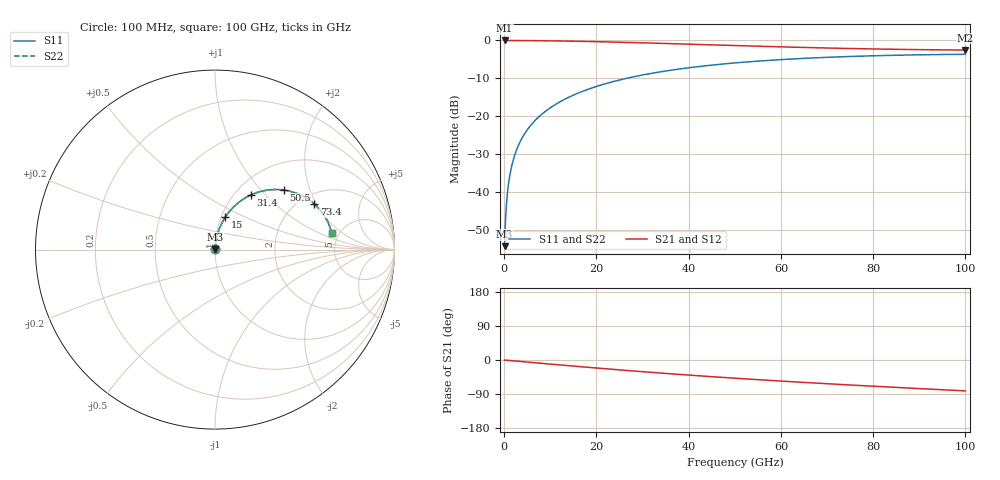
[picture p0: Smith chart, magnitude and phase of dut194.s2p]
! Touchstone file exported from HFSS 2026.1.0
!  File:  C:/ffzhzh/LocalFiles/Ansys_Project_Files/temp_train_RDL_194_1783500604_31944.aedt
!  Generated:  04:51:10 PM Jul  8, 2026
!  Design:  RDL
!  Project:  temp_train_RDL_194_1783500604_31944
! Variables:
!  h_bsmrdl = 2um
!  h_ox = 20um
!  h_rdl = 5um
!  h_sub = 80um
!  h_tmrdl = 4.32um
!  h_tsv = 80um
!  h_via = 3um
!  l_bsmrdl = 300um
!  l_sub = 642.06um
!  l_tmrdl = 242.06um
!  m_sub = 200um
!  pitch = 53.47um
!  r_tsv = 6um
!  s_tmrdl = 10um
!  w_bsmrdl = 18um
!  w_sub = 500um
!  w_tmrdl = 16.48um
!  x_tsv_center1 = 250.3um
!  x_tsv_center2 = 568.3um
!  x_tsv_center3 = 826.84um
!  x_tsv_center4 = 1144.84um
!  x_tsv_center5 = 1403.38um
!  x_tsv_center6 = 1721.38um
# GHz S MA R 50.000000
! Terminal data exported
! Port[1] = TM_RDL1_1_T1
! Port[2] = TM_RDL1_1_T2
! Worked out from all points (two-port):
!   1000 points, 100 MHz to 100 GHz, reference 50 ohm
!   highest |S21| = -0.01 dB at 100 MHz (marker M1); lowest = -2.5 dB at 100 GHz (marker M2)
!   |S21| within 3 dB of the highest: start of sweep to end of sweep
!   lowest |S11| = -54.2 dB at 100 MHz (marker M3), VSWR 1.00, Z = 50.1 + j0.141 ohm
!   |S11| at or under -10 dB: start of sweep to 26.52 GHz
!   |S22| runs from -54.2 to -3.7 dB; largest |S21 - S12| = 3.6e-15
!   S11 on the Smith chart (normalised r, x): 100 MHz: 1.00, +0.00; 15 GHz: 1.05, +0.39; 31.4 GHz: 1.18, +0.83; 50.5 GHz: 1.52, +1.36; 73.4 GHz: 2.39, +1.93; 100 GHz: 4.33, +1.42
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0.1  0.001942 46.2  0.9987 -0.1  0.9987 -0.1  0.001942 46.2
! Gamma 0 0 0 0
! Port Impedance 50 0 50 0
0.4  0.005684 74.6  0.9985 -0.5  0.9985 -0.5  0.005684 74.6
0.8  0.01093 80.9  0.9984 -0.9  0.9984 -0.9  0.01093 80.9
1  0.01358 82.1  0.9983 -1.1  0.9983 -1.1  0.01358 82.1
1.3  0.01756 83.1  0.9982 -1.4  0.9982 -1.4  0.01756 83.1
1.7  0.02287 83.8  0.998 -1.9  0.998 -1.9  0.02287 83.8
2.2  0.02951 84.0  0.9977 -2.4  0.9977 -2.4  0.02951 84.0
3.6  0.04796 83.4  0.9966 -4.0  0.9966 -4.0  0.04796 83.3
5.5  0.07264 81.7  0.9945 -6.0  0.9945 -6.0  0.07264 81.7
8  0.1045 79.3  0.9909 -8.7  0.9909 -8.7  0.1045 79.3
11.1  0.143 76.3  0.9854 -12.0  0.9854 -12.0  0.143 76.2
15  0.1899 72.4  0.9767 -16.1  0.9767 -16.1  0.1899 72.4
16.8  0.2109 70.7  0.9722 -17.9  0.9722 -17.9  0.2109 70.6
23.4  0.284 64.3  0.9527 -24.5  0.9527 -24.5  0.284 64.2
31.4  0.3632 56.8  0.9249 -32.1  0.9249 -32.1  0.3632 56.8
33.4  0.3813 55.0  0.9175 -34.0  0.9175 -34.0  0.3813 55.0
50.1  0.5054 41.1  0.8554 -48.1  0.8554 -48.1  0.5054 41.0
50.5  0.5078 40.8  0.854 -48.4  0.854 -48.4  0.5078 40.7
66.7  0.5866 29.0  0.8024 -60.3  0.8024 -60.3  0.5866 28.9
73.4  0.6095 24.6  0.7854 -64.9  0.7854 -64.9  0.6094 24.4
83.4  0.6348 18.2  0.7653 -71.3  0.7653 -71.3  0.6347 18.0
100  0.6564 8.1  0.7469 -81.5  0.7469 -81.5  0.6564 8.0
